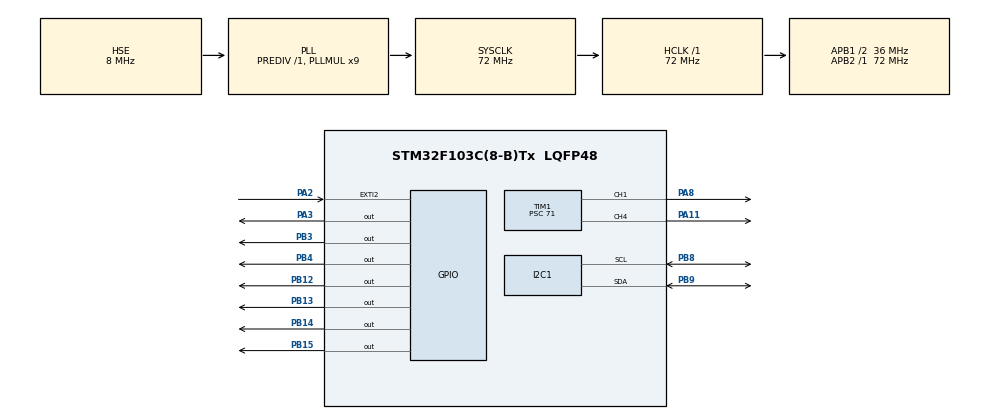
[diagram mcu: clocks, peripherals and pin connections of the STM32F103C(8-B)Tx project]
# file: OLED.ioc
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Mcu.Family=STM32F1
Mcu.Name=STM32F103C(8-B)Tx
Mcu.Package=LQFP48
NVIC.EXTI2_IRQn=true\:0\:0\:false\:false\:true\:true\:true\:true
NVIC.PriorityGroup=NVIC_PRIORITYGROUP_4
PA11.Signal=S_TIM1_CH4
PA13.Mode=Serial_Wire
PA13.Signal=SYS_JTMS-SWDIO
PA14.Mode=Serial_Wire
PA14.Signal=SYS_JTCK-SWCLK
PA2.GPIO_ModeDefaultEXTI=GPIO_MODE_IT_RISING_FALLING
PA2.Signal=GPXTI2
PA3.GPIO_Speed=GPIO_SPEED_FREQ_HIGH
PA3.Signal=GPIO_Output
PA8.Signal=S_TIM1_CH1
PB12.Signal=GPIO_Output
PB13.Signal=GPIO_Output
PB14.Signal=GPIO_Output
PB15.Signal=GPIO_Output
PB3.Signal=GPIO_Output
PB4.Signal=GPIO_Output
PB8.Mode=I2C
PB8.Signal=I2C1_SCL
PB9.Mode=I2C
PB9.Signal=I2C1_SDA
PC14-OSC32_IN.Mode=LSE-External-Oscillator
PC14-OSC32_IN.Signal=RCC_OSC32_IN
PC15-OSC32_OUT.Mode=LSE-External-Oscillator
PC15-OSC32_OUT.Signal=RCC_OSC32_OUT
PD0-OSC_IN.Mode=HSE-External-Oscillator
PD0-OSC_IN.Signal=RCC_OSC_IN
PD1-OSC_OUT.Mode=HSE-External-Oscillator
PD1-OSC_OUT.Signal=RCC_OSC_OUT
ProjectManager.HeapSize=0x200
ProjectManager.StackSize=0x400
ProjectManager.TargetToolchain=MDK-ARM V5.32
RCC.AHBFreq_Value=72000000
RCC.APB1CLKDivider=RCC_HCLK_DIV2
RCC.APB1Freq_Value=36000000
RCC.APB1TimFreq_Value=72000000
RCC.APB2Freq_Value=72000000
RCC.APB2TimFreq_Value=72000000
RCC.HCLKFreq_Value=72000000
RCC.PLLMUL=RCC_PLL_MUL9
RCC.PLLSourceVirtual=RCC_PLLSOURCE_HSE
RCC.SYSCLKFreq_VALUE=72000000
RCC.SYSCLKSource=RCC_SYSCLKSOURCE_PLLCLK
RCC.USBFreq_Value=72000000
SH.S_TIM1_CH1.0=TIM1_CH1,PWM Generation1 CH1
SH.S_TIM1_CH4.0=TIM1_CH4,PWM Generation4 CH4
TIM1.Channel-PWM\ Generation1\ CH1=TIM_CHANNEL_1
TIM1.Channel-PWM\ Generation4\ CH4=TIM_CHANNEL_4
TIM1.Period=99
TIM1.Prescaler=71
TIM1.Pulse-PWM\ Generation1\ CH1=100
TIM1.Pulse-PWM\ Generation4\ CH4=100
TIM3.Prescaler=71
VP_TIM3_VS_ClockSourceINT.Mode=Internal
board=custom

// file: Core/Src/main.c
/* USER CODE BEGIN Header */
/**
  ******************************************************************************
  * @file           : main.c
  * @brief          : Main program body
  ******************************************************************************
  * @attention
  *
  * Copyright (c) 2024 STMicroelectronics.
  * All rights reserved.
  *
  * This software is licensed under terms that can be found in the LICENSE file
  * in the root directory of this software component.
  * If no LICENSE file comes with this software, it is provided AS-IS.
  *
  ******************************************************************************
  */
/* USER CODE END Header */
#include "main.h"
#include "i2c.h"
#include "tim.h"
#include "gpio.h"

/* USER CODE BEGIN Includes */
#include "oled.h"
#include "IIC.h"
#include "inv_mpu.h"
#include "inv_mpu_dmp_motion_driver.h"
#include "mpu6050.h"
#include "stdio.h"
#include "sr04.h"
#include "motor.h"
/* USER CODE END Includes */

/* USER CODE BEGIN PV */
float pitch,roll,yaw;
uint8_t display_buf[20];
extern float distance;
/* USER CODE END PV */

void SystemClock_Config(void);

int main(void)
{

  /* MCU Configuration--------------------------------------------------------*/

  /* Reset of all peripherals, Initializes the Flash interface and the Systick. */
  HAL_Init();

  /* Configure the system clock */
  SystemClock_Config();

  /* Initialize all configured peripherals */
  MX_GPIO_Init();
  MX_I2C1_Init();
  MX_TIM3_Init();
  MX_TIM1_Init();
  /* USER CODE BEGIN 2 */
	OLED_Init();
	OLED_Clear();
	MPU_Init();
	mpu_dmp_init();
	OLED_ShowString(0,00,"Init Sucess",16);

	HAL_TIM_PWM_Start(&htim1,TIM_CHANNEL_1);
	HAL_TIM_PWM_Start(&htim1,TIM_CHANNEL_4);

	Load(13,13);
  /* USER CODE END 2 */

  /* Infinite loop */
  /* USER CODE BEGIN WHILE */
  while (1)
  {
		HAL_Delay(100);
		mpu_dmp_get_data(&pitch,&roll,&yaw);
		sprintf((char *)display_buf,"roll:%.2f   ",roll);
		OLED_ShowString(0,2,display_buf,16);
		GET_Distance();
		sprintf((char *)display_buf,"distance:%.2f   ",distance);
		OLED_ShowString(0,4,display_buf,12);
    /* USER CODE END WHILE */

  }
}

void SystemClock_Config(void)
{
  RCC_OscInitTypeDef RCC_OscInitStruct = {0};
  RCC_ClkInitTypeDef RCC_ClkInitStruct = {0};

  /** Initializes the RCC Oscillators according to the specified parameters
  * in the RCC_OscInitTypeDef structure.
  */
  RCC_OscInitStruct.OscillatorType = RCC_OSCILLATORTYPE_HSE;
  RCC_OscInitStruct.HSEState = RCC_HSE_ON;
  RCC_OscInitStruct.HSEPredivValue = RCC_HSE_PREDIV_DIV1;
  RCC_OscInitStruct.HSIState = RCC_HSI_ON;
  RCC_OscInitStruct.PLL.PLLState = RCC_PLL_ON;
  RCC_OscInitStruct.PLL.PLLSource = RCC_PLLSOURCE_HSE;
  RCC_OscInitStruct.PLL.PLLMUL = RCC_PLL_MUL9;
  if (HAL_RCC_OscConfig(&RCC_OscInitStruct) != HAL_OK)
  {
    Error_Handler();
  }

  /** Initializes the CPU, AHB and APB buses clocks
  */
  RCC_ClkInitStruct.ClockType = RCC_CLOCKTYPE_HCLK|RCC_CLOCKTYPE_SYSCLK
                              |RCC_CLOCKTYPE_PCLK1|RCC_CLOCKTYPE_PCLK2;
  RCC_ClkInitStruct.SYSCLKSource = RCC_SYSCLKSOURCE_PLLCLK;
  RCC_ClkInitStruct.AHBCLKDivider = RCC_SYSCLK_DIV1;
  RCC_ClkInitStruct.APB1CLKDivider = RCC_HCLK_DIV2;
  RCC_ClkInitStruct.APB2CLKDivider = RCC_HCLK_DIV1;

  if (HAL_RCC_ClockConfig(&RCC_ClkInitStruct, FLASH_LATENCY_2) != HAL_OK)
  {
    Error_Handler();
  }
}

void Error_Handler(void)
{
  __disable_irq();
  while (1)
  {
  }
}
